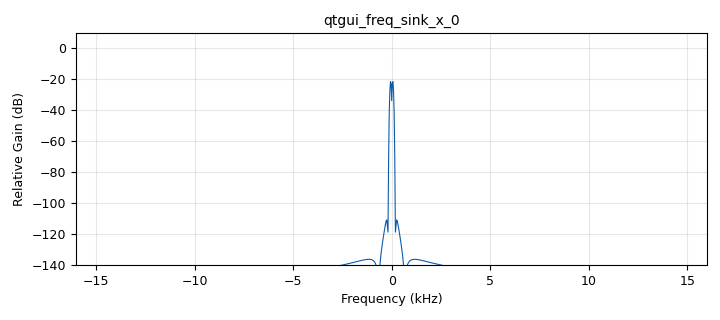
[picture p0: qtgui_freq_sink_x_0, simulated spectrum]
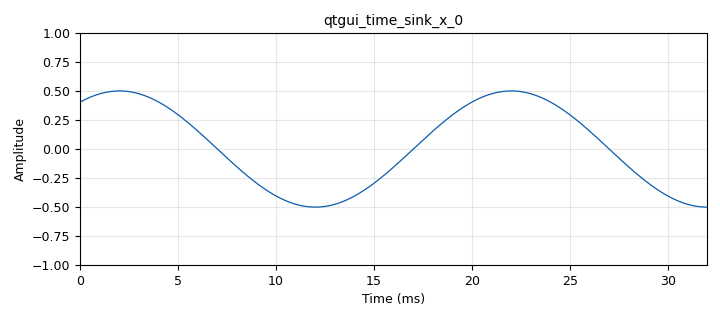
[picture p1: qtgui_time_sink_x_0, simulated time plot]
options:
  parameters:
    generate_options: qt_gui
    id: clean_example
    output_language: python
    title: Not titled yet
  states: {}

blocks:
- name: amp
  id: variable_qtgui_range
  parameters:
    gui_hint: 0,2,1,1
    min_len: '10'
    orient: QtCore.Qt.Vertical
    start: '0.1'
    step: '.1'
    stop: '1'
    value: '0.5'
    widget: slider
  states: {}
- name: freq
  id: variable_qtgui_range
  parameters:
    gui_hint: 0,1,1,1
    min_len: '101'
    orient: QtCore.Qt.Vertical
    start: '0'
    step: '1'
    stop: '100'
    value: '50'
    widget: dial
  states: {}
- name: samp_rate
  id: variable
  parameters:
    value: '32000'
  states: {}
- name: analog_sig_source_x_0
  id: analog_sig_source_x
  parameters:
    amp: amp
    freq: freq
    offset: '0'
    phase: '0'
    samp_rate: samp_rate
    type: float
    waveform: analog.GR_COS_WAVE
  states: {}
- name: qtgui_freq_sink_x_0
  id: qtgui_freq_sink_x
  parameters:
    bw: samp_rate
    fc: '0'
    fftsize: '1024'
    type: float
  states: {}
- name: qtgui_time_sink_x_0
  id: qtgui_time_sink_x
  parameters:
    size: '1024'
    srate: samp_rate
    type: float
  states: {}

connections:
- [analog_sig_source_x_0, '0', qtgui_freq_sink_x_0, '0']
- [analog_sig_source_x_0, '0', qtgui_time_sink_x_0, '0']

metadata:
  file_format: 1
  grc_version: 3.10.10.0
